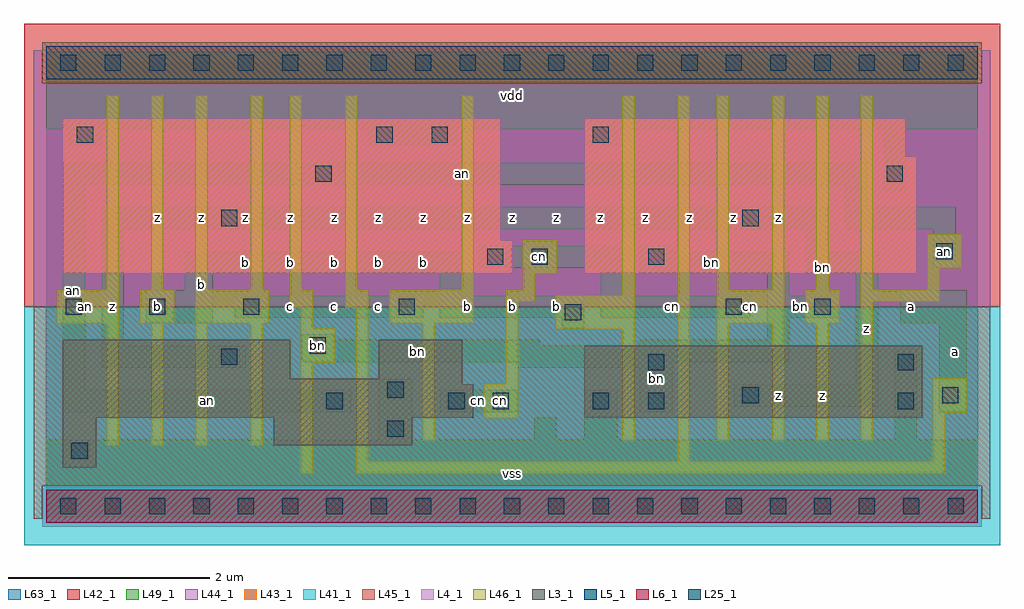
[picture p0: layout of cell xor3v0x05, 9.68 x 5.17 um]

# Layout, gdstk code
import gdstk
lib = gdstk.Library(unit=1e-6, precision=1e-09)
def R(c, l, rs):  # rectangles x0, y0, x1, y1
    for r in rs: c.add(gdstk.rectangle(r[:2], r[2:], *l))
def A(c, l, x, y, w, h, nx, ny, dx, dy):  # array of equal rectangles
    R(c, l, [(x+i*dx, y+j*dy, x+i*dx+w, y+j*dy+h) for i in range(nx) for j in range(ny)])
L3_1 = (3, 1)
L4_1 = (4, 1)
L5_1 = (5, 1)
L6_1 = (6, 1)
L25_1 = (25, 1)
L41_1 = (41, 1)
L42_1 = (42, 1)
L43_1 = (43, 1)
L44_1 = (44, 1)
L45_1 = (45, 1)
L46_1 = (46, 1)
L49_1 = (49, 1)
L63_1 = (63, 1)

xor3v0x05 = lib.new_cell('xor3v0x05')
R(xor3v0x05, L3_1, [(0.165,0.385,0.495,0.88), (2.255,0.605,3.63,0.88), (0.165,0.88,4.235,1.21), (5.335,0.88,8.69,1.595), (0.165,1.21,4.125,1.265), (0.165,1.265,2.42,1.65), (3.3,1.265,4.125,1.65)])
R(xor3v0x05, L4_1, [(0.165,2.31,4.62,2.64), (5.335,2.31,8.635,3.465), (0.165,2.64,4.51,3.85), (5.335,3.465,8.525,3.85)])
R(xor3v0x05, L5_1, [(0,4.235,9.24,4.565)])
R(xor3v0x05, L6_1, [(0,-0.165,9.24,0.165)])
A(xor3v0x05, L25_1, 0.14, -0.08, 0.16, 0.16, 21, 2, 0.44, 4.4)
R(xor3v0x05, L25_1, [(0.25,0.47,0.41,0.63), (3.385,0.69,3.545,0.85), (2.78,0.965,2.94,1.125), (3.99,0.965,4.15,1.125), (4.43,0.965,4.59,1.125), (5.42,0.965,5.58,1.125), (5.97,0.965,6.13,1.125), (8.445,0.965,8.605,1.125), (6.905,1.02,7.065,1.18), (8.885,1.02,9.045,1.18), (3.385,1.075,3.545,1.235), (5.97,1.35,6.13,1.51), (8.445,1.35,8.605,1.51), (1.735,1.405,1.895,1.565), (2.615,1.515,2.775,1.675), (5.145,1.845,5.305,2.005), (0.195,1.9,0.355,2.06), (1.02,1.9,1.18,2.06), (1.955,1.9,2.115,2.06), (3.495,1.9,3.655,2.06), (6.74,1.9,6.9,2.06), (7.62,1.9,7.78,2.06), (4.375,2.395,4.535,2.555), (4.815,2.395,4.975,2.555), (5.97,2.395,6.13,2.555), (8.83,2.45,8.99,2.61), (1.735,2.78,1.895,2.94), (6.905,2.78,7.065,2.94), (2.67,3.22,2.83,3.38), (8.335,3.22,8.495,3.38), (0.305,3.605,0.465,3.765), (3.275,3.605,3.435,3.765), (3.825,3.605,3.985,3.765), (5.42,3.605,5.58,3.765)])
R(xor3v0x05, L41_1, [(-0.22,-0.385,9.46,1.98)])
R(xor3v0x05, L42_1, [(-0.22,1.98,9.46,4.785)])
R(xor3v0x05, L43_1, [(0,-0.165,9.24,0.165), (0.165,0.385,0.495,0.88), (2.255,0.605,3.63,0.88), (0.165,0.88,4.235,1.21), (5.335,0.88,8.69,1.595), (0.165,1.21,4.125,1.265), (0.165,1.265,2.42,1.65), (3.3,1.265,4.125,1.65), (0.165,2.31,4.62,2.64), (5.335,2.31,8.635,3.465), (0.165,2.64,4.51,3.85), (5.335,3.465,8.525,3.85), (0,4.235,9.24,4.565)])
R(xor3v0x05, L44_1, [(-0.04,-0.205,9.28,0.205), (-0.125,1.98,9.365,4.195), (-0.125,4.195,-0.04,4.525), (9.28,4.195,9.365,4.525)])
R(xor3v0x05, L45_1, [(-0.125,-0.125,-0.04,0.205), (9.28,-0.125,9.365,0.205), (-0.125,0.205,9.365,1.98), (-0.04,4.195,9.28,4.605)])
A(xor3v0x05, L46_1, 0.6, 0.6, 0.12, 1.21, 3, 1, 0.44, 0)
A(xor3v0x05, L46_1, 0.6, 2.15, 0.12, 1.925, 3, 1, 0.44, 0)
A(xor3v0x05, L46_1, 7.2, 2.15, 0.12, 1.925, 3, 1, 0.44, 0)
R(xor3v0x05, L46_1, [(2.525,0.325,2.645,1.425), (3.075,0.325,8.915,0.445), (3.075,0.445,3.195,1.975), (6.265,0.445,6.385,4.075), (8.795,0.445,8.915,0.93), (2.03,0.6,2.15,1.81), (3.735,0.655,3.855,1.81), (5.715,0.655,5.835,1.755), (6.65,0.655,6.77,1.81), (7.2,0.655,7.32,1.81), (7.64,0.655,7.76,1.81), (8.08,0.655,8.2,2.03), (4.34,0.875,4.68,1.215), (8.795,0.93,9.135,1.27), (4.56,1.215,4.68,2.03), (2.525,1.425,2.865,1.765), (5.055,1.755,5.835,2.095), (2.525,1.765,2.645,1.975), (0.105,1.81,0.72,2.15), (0.93,1.81,1.27,2.15), (1.48,1.81,2.205,2.15), (3.405,1.81,4.24,2.15), (6.65,1.81,7.32,2.15), (7.53,1.81,7.87,2.15), (2.415,1.975,2.645,2.15), (2.965,1.975,3.195,2.15), (4.56,2.03,4.845,2.15), (8.08,2.03,8.86,2.15), (5.715,2.095,5.835,4.075), (2.03,2.15,2.15,4.075), (2.415,2.15,2.535,4.075), (2.965,2.15,3.085,4.075), (4.12,2.15,4.24,4.075), (4.725,2.15,4.845,2.305), (6.65,2.15,6.77,4.075), (8.74,2.15,8.86,2.36), (4.725,2.305,5.065,2.645), (8.74,2.36,9.08,2.7)])
R(xor3v0x05, L49_1, [(0,-0.11,9.24,0.66), (3.3,0.66,3.63,1.265), (4.84,0.66,5.06,0.88), (5.335,0.66,5.665,1.155), (8.415,0.66,8.635,1.595), (0.165,0.935,3.025,1.155), (3.905,0.935,4.675,1.155), (5.885,0.935,6.215,1.375), (8.855,0.935,9.13,1.815), (6.82,0.99,8.25,1.21), (0.165,1.155,0.385,3.19), (8.03,1.21,8.25,2.31), (0.55,1.375,1.98,1.595), (4.675,1.375,6.215,1.43), (2.53,1.43,7.37,1.595), (0.55,1.595,0.77,2.75), (2.53,1.595,4.895,1.65), (5.885,1.595,7.37,1.65), (2.53,1.65,2.86,1.705), (7.15,1.65,7.37,1.87), (5.115,1.76,5.335,1.87), (0.99,1.815,1.65,2.145), (8.47,1.815,9.13,2.145), (1.87,1.87,3.74,2.09), (3.905,1.87,5.335,2.09), (5.5,1.87,6.985,2.09), (7.15,1.87,7.865,2.09), (3.905,2.09,4.125,2.31), (5.5,2.09,5.72,2.365), (7.15,2.09,7.37,2.31), (1.375,2.145,1.65,2.31), (1.375,2.31,4.125,2.53), (5.885,2.31,7.37,2.53), (7.535,2.31,8.25,2.53), (4.29,2.365,5.72,2.585), (8.8,2.365,9.02,2.75), (5.885,2.53,6.215,2.585), (7.535,2.53,7.755,2.75), (0.55,2.75,7.755,2.97), (7.92,2.75,9.02,2.97), (7.92,2.97,8.14,3.19), (8.305,3.135,8.525,3.74), (0.165,3.19,8.14,3.41), (0.22,3.575,0.55,3.74), (3.19,3.575,4.07,3.74), (5.335,3.575,5.665,3.74), (0,3.74,9.24,4.51)])
R(xor3v0x05, L63_1, [(0,0,9.24,4.4)])
xor3v0x05.add(gdstk.Label('an', (0.385,1.98), layer=46, texttype=1))
xor3v0x05.add(gdstk.Label('bn', (2.695,1.595), layer=49, texttype=1))
xor3v0x05.add(gdstk.Label('cn', (4.51,1.045), layer=49, texttype=1))
xor3v0x05.add(gdstk.Label('cn', (4.895,2.475), layer=49, texttype=1))
xor3v0x05.add(gdstk.Label('cn', (6.985,1.98), layer=46, texttype=1))
xor3v0x05.add(gdstk.Label('an', (8.91,2.53), layer=49, texttype=1))
xor3v0x05.add(gdstk.Label('bn', (7.7,2.365), layer=46, texttype=1))
xor3v0x05.add(gdstk.Label('b', (1.1,1.98), layer=49, texttype=1))
xor3v0x05.add(gdstk.Label('z', (0.66,1.98), layer=49, texttype=1))
xor3v0x05.add(gdstk.Label('z', (1.1,2.86), layer=49, texttype=1))
xor3v0x05.add(gdstk.Label('an', (0.275,2.145), layer=49, texttype=1))
xor3v0x05.add(gdstk.Label('c', (2.42,1.98), layer=49, texttype=1))
xor3v0x05.add(gdstk.Label('c', (2.86,1.98), layer=49, texttype=1))
xor3v0x05.add(gdstk.Label('b', (2.86,2.42), layer=49, texttype=1))
xor3v0x05.add(gdstk.Label('b', (2.42,2.42), layer=49, texttype=1))
xor3v0x05.add(gdstk.Label('b', (1.98,2.42), layer=49, texttype=1))
xor3v0x05.add(gdstk.Label('b', (1.54,2.2), layer=49, texttype=1))
xor3v0x05.add(gdstk.Label('z', (1.54,2.86), layer=49, texttype=1))
xor3v0x05.add(gdstk.Label('z', (2.86,2.86), layer=49, texttype=1))
xor3v0x05.add(gdstk.Label('z', (2.42,2.86), layer=49, texttype=1))
xor3v0x05.add(gdstk.Label('z', (1.98,2.86), layer=49, texttype=1))
xor3v0x05.add(gdstk.Label('an', (1.595,1.045), layer=49, texttype=1))
xor3v0x05.add(gdstk.Label('b', (4.18,1.98), layer=49, texttype=1))
xor3v0x05.add(gdstk.Label('c', (3.3,1.98), layer=49, texttype=1))
xor3v0x05.add(gdstk.Label('b', (3.3,2.42), layer=49, texttype=1))
xor3v0x05.add(gdstk.Label('b', (3.74,2.42), layer=49, texttype=1))
xor3v0x05.add(gdstk.Label('z', (3.74,2.86), layer=49, texttype=1))
xor3v0x05.add(gdstk.Label('z', (4.18,2.86), layer=49, texttype=1))
xor3v0x05.add(gdstk.Label('z', (3.3,2.86), layer=49, texttype=1))
xor3v0x05.add(gdstk.Label('vss', (4.62,0.33), layer=49, texttype=1))
xor3v0x05.add(gdstk.Label('cn', (4.29,1.045), layer=49, texttype=1))
xor3v0x05.add(gdstk.Label('bn', (3.685,1.54), layer=49, texttype=1))
xor3v0x05.add(gdstk.Label('b', (4.62,1.98), layer=49, texttype=1))
xor3v0x05.add(gdstk.Label('b', (5.06,1.98), layer=49, texttype=1))
xor3v0x05.add(gdstk.Label('z', (4.62,2.86), layer=49, texttype=1))
xor3v0x05.add(gdstk.Label('cn', (5.005,2.475), layer=49, texttype=1))
xor3v0x05.add(gdstk.Label('z', (5.5,2.86), layer=49, texttype=1))
xor3v0x05.add(gdstk.Label('z', (5.94,2.86), layer=49, texttype=1))
xor3v0x05.add(gdstk.Label('z', (5.06,2.86), layer=49, texttype=1))
xor3v0x05.add(gdstk.Label('vdd', (4.62,4.07), layer=49, texttype=1))
xor3v0x05.add(gdstk.Label('z', (7.26,1.1), layer=49, texttype=1))
xor3v0x05.add(gdstk.Label('bn', (6.05,1.265), layer=49, texttype=1))
xor3v0x05.add(gdstk.Label('cn', (6.215,1.98), layer=49, texttype=1))
xor3v0x05.add(gdstk.Label('bn', (6.6,2.42), layer=49, texttype=1))
xor3v0x05.add(gdstk.Label('z', (6.38,2.86), layer=49, texttype=1))
xor3v0x05.add(gdstk.Label('z', (7.26,2.86), layer=49, texttype=1))
xor3v0x05.add(gdstk.Label('z', (6.82,2.86), layer=49, texttype=1))
xor3v0x05.add(gdstk.Label('z', (7.7,1.1), layer=49, texttype=1))
xor3v0x05.add(gdstk.Label('a', (9.02,1.54), layer=49, texttype=1))
xor3v0x05.add(gdstk.Label('bn', (7.48,1.98), layer=49, texttype=1))
xor3v0x05.add(gdstk.Label('a', (8.58,1.98), layer=49, texttype=1))
xor3v0x05.add(gdstk.Label('z', (8.14,1.76), layer=49, texttype=1))
xor3v0x05.add(gdstk.Label('z', (7.7,2.42), layer=49, texttype=1))
xor3v0x05.add(gdstk.Label('an', (8.91,2.64), layer=49, texttype=1))
xor3v0x05.add(gdstk.Label('an', (4.125,3.3), layer=49, texttype=1))

lib.write_gds('xor3v0x05.gds')
